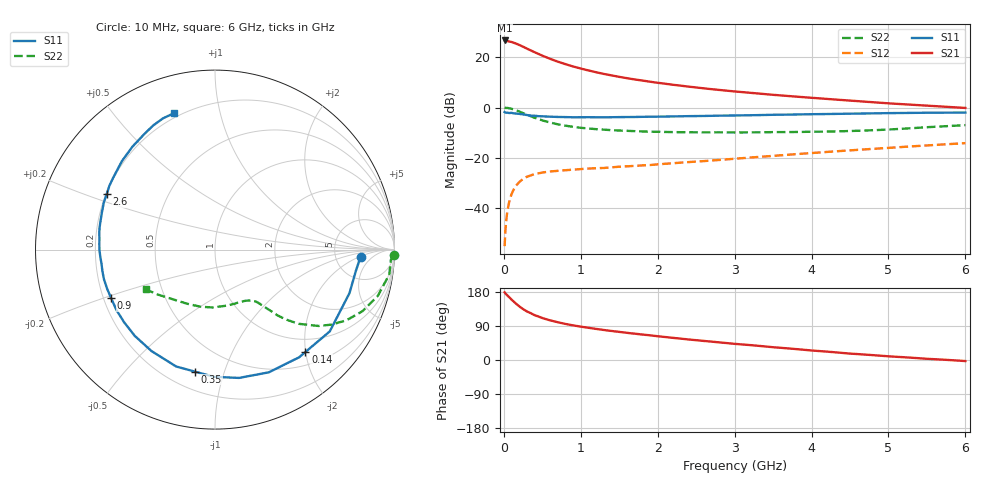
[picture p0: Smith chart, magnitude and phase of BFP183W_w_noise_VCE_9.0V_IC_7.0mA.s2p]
! Infineon Technologies  Discrete & RF Semiconductors
! BFP183W
! VCE =  9.0 V,  IC =  7.0 mA
! Common Emitter S-Parameters:  Jan 2017
# GHz  S  MA  R  50
!  f  S11  S21  S12  S22
! GHz  MAG  ANG  MAG  ANG  MAG  ANG  MAG  ANG
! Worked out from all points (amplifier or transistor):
!   77 points, 10 MHz to 6 GHz, reference 50 ohm
!   highest |S21| = 26.8 dB at 10 MHz (marker M1)
!   |S21| within 3 dB of that: start of sweep to 283.1 MHz
!   unconditionally stable (mu >= 1): 1.936 GHz to 3.997 GHz
!   at 130 MHz: K = 0.10, MSG = 29.2 dB, |S12| = -32.7 dB
!   at 2.2 GHz: K = 1.04, MAG = 14.5 dB, |S12| = -22.2 dB
!   at 6 GHz: K = 0.82, MSG = 7.0 dB, |S12| = -14.2 dB
!   lowest NFmin = 0.82 dB at 450 MHz
!   S11 on the Smith chart (normalised r, x): 10 MHz: 9.14, -2.13; 140 MHz: 0.74, -1.99; 350 MHz: 0.31, -0.80; 900 MHz: 0.23, -0.21; 2.6 GHz: 0.20, +0.23; 6 GHz: 0.18, +0.73
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0.01  0.8121 -2.8  21.85 178.5  0.0017 87.1  0.9957 -1.6
0.02  0.7937 -8.6  21.56 175.6  0.0034 99.8  0.9814 -3.3
0.05  0.7876 -17.9  21.23 169.5  0.0093 82.4  0.9809 -8.1
0.1  0.7852 -35.5  20.38 159.3  0.0186 74.0  0.9437 -15.8
0.14  0.761 -48.6  19.36 152.0  0.0249 66.4  0.9006 -21.2
0.2  0.7467 -66.3  17.77 141.6  0.0323 59.7  0.8323 -28.2
0.25  0.7274 -79.4  16.39 134.3  0.0376 53.3  0.7733 -32.7
0.3  0.7086 -90.5  15.02 128.2  0.0414 49.1  0.717 -36.4
0.35  0.689 -99.3  13.82 123.6  0.044 45.9  0.6698 -38.8
0.4  0.6863 -108.4  12.73 118.2  0.0468 43.1  0.624 -41.5
0.5  0.6669 -122.0  10.85 110.8  0.0502 38.7  0.5542 -44.6
0.6  0.6564 -132.9  9.418 104.7  0.0528 36.2  0.5018 -46.6
0.7  0.6483 -141.4  8.256 99.7  0.0543 34.8  0.462 -47.7
0.9  0.6386 -154.9  6.603 91.4  0.0574 34.0  0.4112 -49.6
1.1  0.6404 -164.9  5.498 85.0  0.0603 34.3  0.381 -51.0
1.5  0.6436 -179.6  4.098 74.2  0.0657 36.6  0.3467 -54.8
2.1  0.6598 163.9  2.981 60.6  0.0752 41.3  0.3248 -63.7
2.6  0.678 152.9  2.414 50.3  0.0851 44.2  0.319 -73.5
3.1  0.6969 143.3  2.031 41.0  0.0974 46.5  0.3182 -84.0
4.1  0.7381 127.3  1.524 23.6  0.1264 47.4  0.3293 -107.2
5.1  0.7751 115.4  1.186 8.5  0.1598 44.9  0.3705 -132.9
6  0.7935 106.8  0.98 -2.8  0.1941 40.7  0.445 -150.1
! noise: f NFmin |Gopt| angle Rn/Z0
0.45  0.82  0.16  68  0.11
0.9  0.91  0.21  112  0.1
1.9  1.45  0.39  172  0.07
2.4  1.71  0.45  -173  0.09
